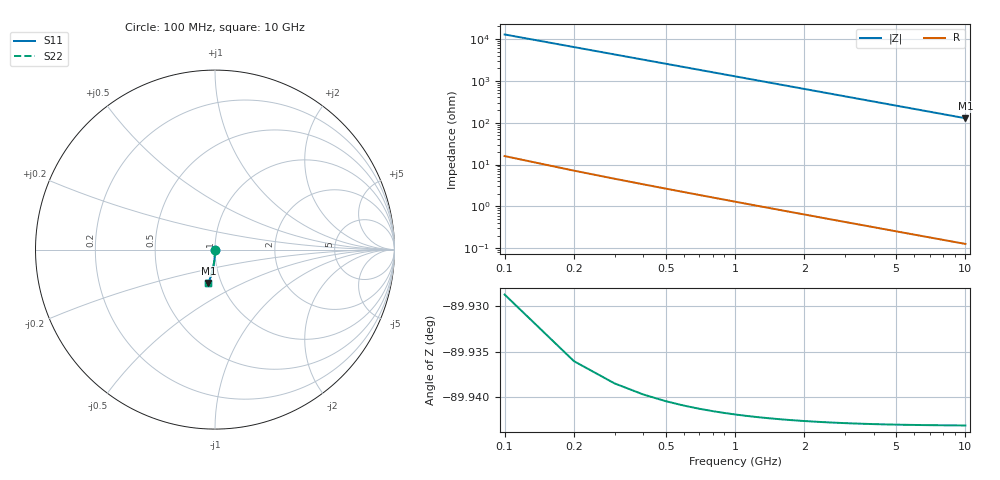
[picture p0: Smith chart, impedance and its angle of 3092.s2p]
# Hz S RI R 50.00
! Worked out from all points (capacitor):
!   100 points, 100 MHz to 10 GHz, reference 50 ohm
!   read as one part in shunt: C = 124 fF near 100 MHz
!   lowest |Z| = 128 ohm at 10 GHz (marker M1)
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1e8  6.76e-07 -0.00193  1 -0.00198  1 -0.00198  6.76e-07 -0.00193
2e8  -1.27e-05 -0.00385  1 -0.00397  1 -0.00397  -1.27e-05 -0.00385
3e8  -3.37e-05 -0.00578  1 -0.00595  1 -0.00595  -3.37e-05 -0.00578
4e8  -6.23e-05 -0.0077  0.9999 -0.00793  0.9999 -0.00793  -6.23e-05 -0.0077
5e8  -9.86e-05 -0.00963  0.9999 -0.00992  0.9999 -0.00992  -9.86e-05 -0.00963
6e8  -0.000143 -0.0116  0.9998 -0.0119  0.9998 -0.0119  -0.000143 -0.0116
7e8  -0.000194 -0.0135  0.9998 -0.0139  0.9998 -0.0139  -0.000194 -0.0135
8e8  -0.000253 -0.0154  0.9997 -0.0159  0.9997 -0.0159  -0.000253 -0.0154
9e8  -0.00032 -0.0173  0.9997 -0.0178  0.9997 -0.0178  -0.00032 -0.0173
1.1e9  -0.000477 -0.0212  0.9995 -0.0218  0.9995 -0.0218  -0.000477 -0.0212
1.4e9  -0.000769 -0.027  0.9992 -0.0278  0.9992 -0.0278  -0.000769 -0.027
1.8e9  -0.00127 -0.0346  0.9987 -0.0357  0.9987 -0.0357  -0.00127 -0.0346
2.1e9  -0.00172 -0.0404  0.9983 -0.0416  0.9983 -0.0416  -0.00172 -0.0404
2.5e9  -0.00243 -0.0481  0.9976 -0.0495  0.9976 -0.0495  -0.00243 -0.0481
2.9e9  -0.00326 -0.0557  0.9967 -0.0574  0.9967 -0.0574  -0.00326 -0.0557
3.4e9  -0.00446 -0.0652  0.9955 -0.0672  0.9955 -0.0672  -0.00446 -0.0652
4.2e9  -0.00678 -0.0804  0.9932 -0.0828  0.9932 -0.0828  -0.00678 -0.0804
5.1e9  -0.00996 -0.0974  0.99 -0.1003  0.99 -0.1003  -0.00996 -0.0974
5.9e9  -0.0133 -0.1123  0.9867 -0.1157  0.9867 -0.1157  -0.0133 -0.1123
6.7e9  -0.017 -0.127  0.9829 -0.1309  0.9829 -0.1309  -0.017 -0.127
8.4e9  -0.0265 -0.1577  0.9735 -0.1626  0.9735 -0.1626  -0.0265 -0.1577
1e10  -0.0371 -0.1857  0.9628 -0.1916  0.9628 -0.1916  -0.0371 -0.1857
